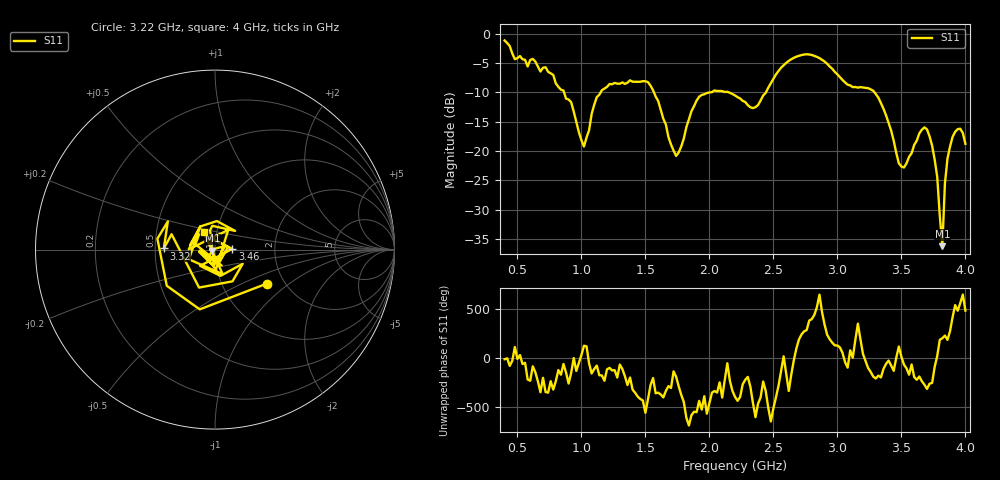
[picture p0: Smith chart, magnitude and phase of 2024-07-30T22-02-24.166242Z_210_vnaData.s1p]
!Created with skrf (http://scikit-rf.org).
# Hz S RI R 50.0
!freq ReS11 ImS11
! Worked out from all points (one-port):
!   181 points, 400 MHz to 4 GHz, reference 50 ohm
!   lowest |S11| = -36.2 dB at 3.82 GHz (marker M1), VSWR 1.03, Z = 48.6 - j0.54 ohm
!   |S11| at or under -10 dB: 1.567 GHz to 2.004 GHz (437.1 MHz wide, 24.5 % of centre); 2.152 GHz to 2.442 GHz (289.6 MHz wide, 12.6 % of centre); 3.29 GHz to end of sweep (the widest 3 of 4)
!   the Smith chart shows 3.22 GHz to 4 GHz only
!   S11 on the Smith chart (normalised r, x): 3.22 GHz: 1.63, -0.70; 3.32 GHz: 0.56, +0.01; 3.46 GHz: 1.21, +0.01; 4 GHz: 0.87, +0.17
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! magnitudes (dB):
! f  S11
! 400 MHz  -1.2
! 480 MHz  -4.3
! 620 MHz  -4.3
! 860 MHz  -9.7
! 1.02 GHz  -19.2
! 1.12 GHz  -10.8
! 1.3 GHz  -8.5
! 1.52 GHz  -8.2
! 1.72 GHz  -19.9
! 1.76 GHz  -20.2
! 1.92 GHz  -10.7
! 2.2 GHz  -10.5
! 2.36 GHz  -12.5
! 2.66 GHz  -4.1
! 2.84 GHz  -3.9
! 3.1 GHz  -8.8
! 3.22 GHz  -9.2
! 3.32 GHz  -10.9
! 3.46 GHz  -20.3
! 3.52 GHz  -22.8
! 3.56 GHz  -21.0
! 3.7 GHz  -16.3
! 3.78 GHz  -24.4
! 3.82 GHz  -36.2
! 3.84 GHz  -25.5
! 3.88 GHz  -19.2
! 3.94 GHz  -16.3
! 4 GHz  -18.8
